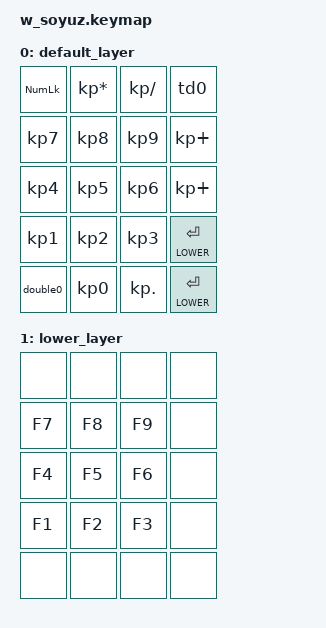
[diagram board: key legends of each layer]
/*
 * Copyright (c) 2021 The ZMK Contributors
 *
 * SPDX-License-Identifier: MIT
 */
 
#include <behaviors.dtsi>
#include <dt-bindings/zmk/keys.h>
#include <dt-bindings/zmk/bt.h>
#include <dt-bindings/zmk/outputs.h>
#define LOWER 1

/ {
    macros {
        double0: double0 {
            label = "double0";
            compatible = "zmk,behavior-macro";
            #binding-cells = <0>;
            bindings
                = <&macro_tap &kp KP_N0>
                , <&macro_tap &kp KP_N0>
                ;
        };
    };
};

/ {
    behaviors {
        td0: tap_dance_0 {
            compatible = "zmk,behavior-tap-dance";
            label = "TAP_DANCE_0";
            #binding-cells = <0>;
            tapping-term-ms = <200>;
            bindings = <&kp KP_MINUS>, <&kp BSPC>;
        };
    };

    keymap {
        compatible = "zmk,keymap";

        default_layer {
            // ------------------------------
            // |    numlock        |  *   |  /   |       -       |
            // |         7         |  8   |  9   |               |
            // |         4         |  5   |  6   |       +       |
            // |         1         |  2   |  3   |               | 
            // |         0         |  0   |   .  |ENTER / LAYER1 |


            bindings = <
                &kp KP_NLCK            &kp KP_MULTIPLY          &kp KP_DIVIDE         &td0   
                &kp KP_N7              &kp KP_N8                &kp KP_N9             &kp KP_PLUS   
                &kp KP_N4              &kp KP_N5                &kp KP_N6             &kp KP_PLUS
                &kp KP_N1              &kp KP_N2                &kp KP_N3             &lt LOWER ENTER   
                &double0               &kp KP_N0               &kp KP_DOT             &lt LOWER ENTER 
            >;
        };

        lower_layer {
            // ------------------------------
            // |       |      |      |      |
            // |  F7   |  F8  |  F9  |      |
            // |  F4   |  F5  |  F6  |      |
            // |  F1   |  F2  |  F3  |      |       
            // |       |      |      |      |
            bindings = <
                &none     &none    &none   &none   
                &kp F7    &kp F8   &kp F9  &none    
                &kp F4    &kp F5   &kp F6  &none  
                &kp F1    &kp F2   &kp F3  &none 
                &none     &none    &none   &none
            >;
        };
    };
};
